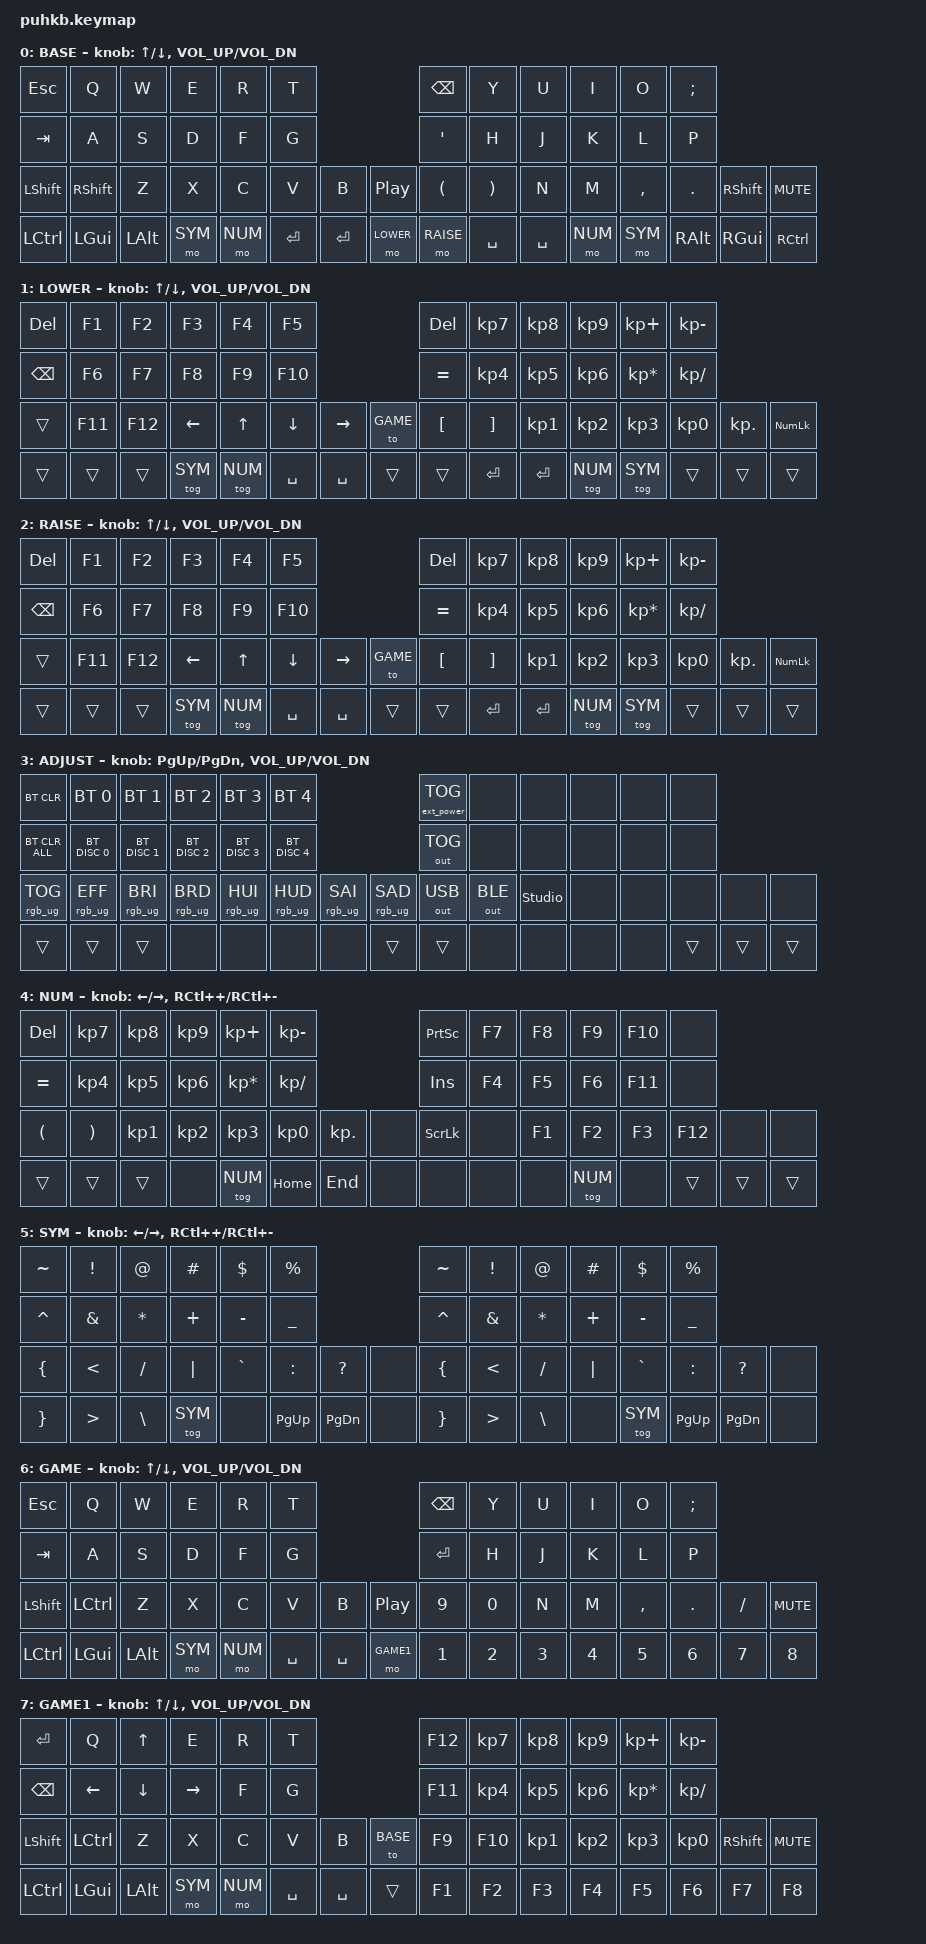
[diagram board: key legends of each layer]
/*
 * Copyright (c) 2020 The ZMK Contributors
 *
 * SPDX-License-Identifier: MIT
 */

#include <behaviors.dtsi>
#include <dt-bindings/zmk/keys.h>
#include <dt-bindings/zmk/bt.h>
#include <dt-bindings/zmk/outputs.h>
#include <dt-bindings/zmk/rgb.h>
#include <dt-bindings/zmk/ext_power.h>

&led_strip {
    chain-length = <27>;
};

#define BASE 0
#define LOWER 1
#define RAISE 2
#define ADJUST 3
#define NUM 4
#define SYM 5
#define GAME 6
#define GAME1 7

/ {

   // Activate ADJUST layer by pressing raise and lower
    conditional_layers {
        compatible = "zmk,conditional-layers";
        adjust_layer {
            if-layers = <LOWER RAISE>;
            then-layer = <ADJUST>;
        };
    };
    
    keymap {
        compatible = "zmk,keymap";
        default_layer {
        display-name = "BASE";
// * BASE
// * |-------------------------------------------|                 |-------------------------------------------|
// * | ESC  | |   Q  |   W  |   E  |   R  |   T  |                 | BSP  | |   Y  |   U  |   I  |   O  |  :;  |
// * |------+---+------+------+------+------+------|               |------+---+------+------+------+------+------|
// * | TAB  |   |   A  |   S  |   D  |   F  |   G  |               |  '"  |   |   H  |   J  |   K  |   L  |  P   |
// * |------+------+------+------+------+------+------+------|     |------|------+------+------+------+------+------+------|
// * |LShift|RShift|   Z  |   X  |   C  |   V  |   B  | PLAY |     |  (   |  )   |   N  |   M  |  ,<  |  .>  |RShift| MUTE |
// * |------+------+------+------+------+------+------+------|     |------+------+------+------+------+------+------+------|
// * |LCTRL | LGUI | LAlt | SYM  | NUM  | ENT  | ENT  | LOW  |     | RAI  |Space |Space |  NUM | SYM  | RAlt | RGUI |RCTRL |
// * |-------------------------------------------------------|     |-------------------------------------------------------|
// */
            bindings = <
&kp ESC             &kp Q     &kp W     &kp E     &kp R     &kp T                  &kp BSPC             &kp Y     &kp U     &kp I     &kp O           &kp SEMI
&kp TAB             &kp A     &kp S     &kp D     &kp F     &kp G                  &kp SQT              &kp H     &kp J     &kp K     &kp L           &kp P
&kp LSHFT &kp RSHFT &kp Z     &kp X     &kp C     &kp V     &kp B     &kp C_PP     &kp LPAR  &kp RPAR   &kp N     &kp M     &kp COMMA &kp DOT         &kp RSHFT     &kp C_MUTE
&kp LCTRL &kp LGUI  &kp LALT  &mo SYM   &mo NUM   &kp RET   &kp RET   &mo LOWER    &mo RAISE &kp SPACE  &kp SPACE &mo NUM   &mo SYM   &kp RALT        &kp RGUI      &kp RCTRL
            >;

            sensor-bindings = <&inc_dec_kp UP DOWN &inc_dec_kp C_VOL_UP C_VOL_DN>;
        };

            lower_layer {
            display-name = "LOWER";
// * LOWER
// * |-------------------------------------------|                 |-------------------------------------------|
// * | DEL  | |  F1  |  F2  |  F3  |  F4  |  F5  |                 | DEL  | |   7  |   8  |   9  |   +  |  -_  |
// * |------+---+------+------+------+------+------|               |------+---+------+------+------+------+------|
// * | BSP  |   |  F6  |  F7  |  F8  |  F9  |  F10 |               |  =   |   |   4  |   5  |   6  |   *  |  /   |
// * |------+------+------+------+------+------+------+------|     |------|------+------+------+------+------+------+------|
// * |LShift|  F11 |  F12 | LEFT |  UP  | DOWN | RIGHT| TO(6)|     |  [{  | ]}   |   1  |   2  |   3  |   0  |   .  |NUMLOK|
// * |------+------+------+------+------+------+------+------|     |------+------+------+------+------+------+------+------|
// * |LCTRL | LGUI | LAlt | TG(5)| TG(4)| SPC  | SPC  |      |     |      | ENT  | ENT  | TG(4)| TG(5)| RAlt | RGUI |RCTRL |
// * |-------------------------------------------------------|     |-------------------------------------------------------|
// */
            bindings = <
&kp DEL             &kp F1    &kp F2    &kp F3    &kp F4    &kp F5                 &kp DEL              &kp KP_N7 &kp KP_N8 &kp KP_N9 &kp KP_PLUS     &kp KP_MINUS
&kp BSPC            &kp F6    &kp F7    &kp F8    &kp F9    &kp F10                &kp EQUAL            &kp KP_N4 &kp KP_N5 &kp KP_N6 &kp KP_MULTIPLY &kp KP_DIVIDE
&trans    &kp F11   &kp F12   &kp LEFT  &kp UP    &kp DOWN  &kp RIGHT &to GAME     &kp LBKT  &kp RBKT   &kp KP_N1 &kp KP_N2 &kp KP_N3 &kp KP_N0       &kp KP_DOT    &kp KP_NLCK
&trans    &trans    &trans    &tog SYM  &tog NUM  &kp SPACE &kp SPACE &trans       &trans    &kp RET    &kp RET   &tog NUM  &tog SYM  &trans          &trans        &trans
            >;

            sensor-bindings = <&inc_dec_kp UP DOWN &inc_dec_kp C_VOL_UP C_VOL_DN>;
        };
        
            raise_layer {
            display-name = "RAISE";
// * RAISE
// * |-------------------------------------------|                 |-------------------------------------------|
// * | DEL  | |  F1  |  F2  |  F3  |  F4  |  F5  |                 | DEL  | |   7  |   8  |   9  |   +  |  -_  |
// * |------+---+------+------+------+------+------|               |------+---+------+------+------+------+------|
// * | BSP  |   |  F6  |  F7  |  F8  |  F9  |  F10 |               |  =   |   |   4  |   5  |   6  |   *  |  /   |
// * |------+------+------+------+------+------+------+------|     |------|------+------+------+------+------+------+------|
// * |LShift|  F11 |  F12 | LEFT |  UP  | DOWN | RIGHT| TO(6)|     |  [{  | ]}   |   1  |   2  |   3  |   0  |   .  |NUMLOK|
// * |------+------+------+------+------+------+------+------|     |------+------+------+------+------+------+------+------|
// * |LCTRL | LGUI | LAlt | TG(5)| TG(4)| SPC  | SPC  |      |     |      | ENT  | ENT  | TG(4)| TG(5)| RAlt | RGUI |RCTRL |
// * |-------------------------------------------------------|     |-------------------------------------------------------|
// */
            bindings = <
&kp DEL             &kp F1    &kp F2    &kp F3    &kp F4    &kp F5                 &kp DEL              &kp KP_N7 &kp KP_N8 &kp KP_N9 &kp KP_PLUS     &kp KP_MINUS
&kp BSPC            &kp F6    &kp F7    &kp F8    &kp F9    &kp F10                &kp EQUAL            &kp KP_N4 &kp KP_N5 &kp KP_N6 &kp KP_MULTIPLY &kp KP_DIVIDE
&trans    &kp F11   &kp F12   &kp LEFT  &kp UP    &kp DOWN  &kp RIGHT &to GAME     &kp LBKT  &kp RBKT   &kp KP_N1 &kp KP_N2 &kp KP_N3 &kp KP_N0       &kp KP_DOT    &kp KP_NLCK
&trans    &trans    &trans    &tog SYM  &tog NUM  &kp SPACE &kp SPACE &trans       &trans    &kp RET    &kp RET   &tog NUM  &tog SYM  &trans          &trans        &trans
            >;

            sensor-bindings = <&inc_dec_kp UP DOWN &inc_dec_kp C_VOL_UP C_VOL_DN>;
        };
        
            adjust_layer {
            display-name = "ADJUST";
// * ADJUST
// * |-------------------------------------------|                 |-------------------------------------------|
// * |BT_CLR| |BTSEL0|BTSEL1|BTSEL2|BTSEL3|BTSEL4|                 |POWTOG| |      |      |      |      |      |
// * |------+---+------+------+------+------+------|               |------+---+------+------+------+------+------|
// * |BTCLRA|   |BTDIS0|BTDIS1|BTDIS2|BTDIS3|BTDIS4|               |OUTTOG|   |      |      |      |      |      |
// * |------+------+------+------+------+------+------+------|     |------|------+------+------+------+------+------+------|
// * |RGBTOG|RGBEFF|RGBBRI|RGBBRD|RGBHUI|RGBHUD|RGBSAI|RGBSAD|     |OUTUSB|OUTBLE|STUNLK|      |      |      |      |      |
// * |------+------+------+------+------+------+------+------|     |------+------+------+------+------+------+------+------|
// * |      |      |      |      |      |      |      |      |     |      |      |      |      |      |      |      |      |
// * |-------------------------------------------------------|     |-------------------------------------------------------|
// */
            bindings = <
&bt BT_CLR      &bt BT_SEL 0    &bt BT_SEL 1    &bt BT_SEL 2    &bt BT_SEL 3    &bt BT_SEL 4                                       &ext_power EP_TOG        &none          &none  &none  &none  &none
&bt BT_CLR_ALL  &bt BT_DISC 0   &bt BT_DISC 1   &bt BT_DISC 2   &bt BT_DISC 3   &bt BT_DISC 4                                      &out OUT_TOG             &none          &none  &none  &none  &none
&rgb_ug RGB_TOG &rgb_ug RGB_EFF &rgb_ug RGB_BRI &rgb_ug RGB_BRD &rgb_ug RGB_HUI &rgb_ug RGB_HUD &rgb_ug RGB_SAI &rgb_ug RGB_SAD    &out OUT_USB             &out OUT_BLE   &studio_unlock  &none  &none  &none  &none  &none
&trans          &trans          &trans          &none           &none           &none           &none           &trans             &trans                   &none          &none  &none  &none  &trans &trans &trans
            >;

            sensor-bindings = <&inc_dec_kp PG_UP PG_DN &inc_dec_kp C_VOL_UP C_VOL_DN>;
        };
            num_layer {
            display-name = "NUM";
// * NUM
// * |-------------------------------------------|                 |-------------------------------------------|
// * | DEL  | |   7  |   8  |   9  |   +  |   -  |                 |PriScr| |  F7  |  F8  |  F9  | F10  |      |
// * |------+---+------+------+------+------+------|               |------+---+------+------+------+------+------|
// * |  =   |   |   4  |   5  |   6  |   *  |  /   |               |Insert|   |  F4  |  F5  |  F6  | F11  |      |
// * |------+------+------+------+------+------+------+------|     |------|------+------+------+------+------+------+------|
// * |  (   |  )   |   1  |   2  |   3  |   0  |   .  |      |     |ScLock|      |  F1  |  F2  | F3   | F12  |      |      |
// * |------+------+------+------+------+------+------+------|     |------+------+------+------+------+------+------+------|
// * |      |      |      |      |TO(4) | HOME |  END |      |     |      |      |      |TO(4) |      |      |      |      |
// * |-------------------------------------------------------|     |-------------------------------------------------------|
// */
            bindings = <
&kp DEL             &kp KP_N7 &kp KP_N8 &kp KP_N9 &kp KP_PLUS     &kp KP_MINUS               &kp PSCRN            &kp F7    &kp F8    &kp F9    &kp F10     &none
&kp EQUAL           &kp KP_N4 &kp KP_N5 &kp KP_N6 &kp KP_MULTIPLY &kp KP_DIVIDE              &kp INS              &kp F4    &kp F5    &kp F6    &kp F11     &none
&kp LPAR  &kp RPAR  &kp KP_N1 &kp KP_N2 &kp KP_N3 &kp KP_N0       &kp KP_DOT    &none        &kp SLCK  &none      &kp F1    &kp F2    &kp F3    &kp F12     &none     &none
&trans    &trans    &trans    &none     &tog NUM  &kp HOME        &kp END       &none        &none     &none      &none     &tog NUM  &none     &trans      &trans    &trans
            >;

            sensor-bindings = <&inc_dec_kp LEFT RIGHT &inc_dec_kp RC(PLUS) RC(MINUS)>;
        };
            sym_layer {
            display-name = "SYM";
// * SYM
// * |-------------------------------------------|                 |-------------------------------------------|
// * |  ~   | |   !  |   @  |   #  |   $  |   %  |                 |  ~   | |   !  |   @  |   #  |   $  |   %  |
// * |------+---+------+------+------+------+------|               |------+---+------+------+------+------+------|
// * |  ^   |   |   &  |   *  |   +  |   -  |   _  |               |  ^   |   |   &  |   *  |   +  |   -  |   _  |
// * |------+------+------+------+------+------+------+------|     |------|------+------+------+------+------+------+------|
// * |  {   |  <   |  /   |  |   |  `   |   :  |  ?   |      |     |  {   |  <   |  /   |  |   |  `   |   :  |  ?   |      |
// * |------+------+------+------+------+------+------+------|     |------+------+------+------+------+------+------+------|
// * |  }   |  >   |  \   |TO(5) |      | PgUP | PgDO |      |     |  }   |  >   |  \   |      |TO(5) | PgUP | PgDO |      |
// * |-------------------------------------------------------|     |-------------------------------------------------------|
// */
            bindings = <
&kp TILDE           &kp EXCL  &kp AT    &kp HASH  &kp DLLR  &kp PRCNT              &kp TILDE           &kp EXCL  &kp AT    &kp HASH  &kp DLLR  &kp PRCNT
&kp CARET           &kp AMPS  &kp STAR  &kp PLUS  &kp MINUS &kp UNDER              &kp CARET           &kp AMPS  &kp STAR  &kp PLUS  &kp MINUS &kp UNDER
&kp LBRC  &kp LT    &kp FSLH  &kp PIPE  &kp GRAVE &kp COLON &kp QMARK &none        &kp LBRC  &kp LT    &kp FSLH  &kp PIPE  &kp GRAVE &kp COLON &kp QMARK &none
&kp RBRC  &kp GT    &kp BSLH  &tog SYM  &none     &kp PG_UP &kp PG_DN &none        &kp RBRC  &kp GT    &kp BSLH  &none     &tog SYM  &kp PG_UP &kp PG_DN &none
            >;

            sensor-bindings = <&inc_dec_kp LEFT RIGHT &inc_dec_kp RC(PLUS) RC(MINUS)>;
        };
        game_layer {
        display-name = "GAME";
// * GAME
// * |-------------------------------------------|                 |-------------------------------------------|
// * | ESC  | |   Q  |   W  |   E  |   R  |   T  |                 | BSP  | |   Y  |   U  |   I  |   O  |  :;  |
// * |------+---+------+------+------+------+------|               |------+---+------+------+------+------+------|
// * | TAB  |   |   A  |   S  |   D  |   F  |   G  |               | ENT  |   |   H  |   J  |   K  |   L  |  P   |
// * |------+------+------+------+------+------+------+------|     |------|------+------+------+------+------+------+------|
// * |LShift|LCTRL |   Z  |   X  |   C  |   V  |   B  | PLAY |     |  N9  |  N0  |   N  |   M  |  ,<  |  .>  |  /?  | MUTE |
// * |------+------+------+------+------+------+------+------|     |------+------+------+------+------+------+------+------|
// * |LCTRL | LGUI | LAlt | SYM  | NUM  |Space |Space |GAME1 |     |  N1  |  N2  |  N3  |  N4  |  N5  |  N6  |  N7  |  N8  |
// * |-------------------------------------------------------|     |-------------------------------------------------------|
// */
            bindings = <
&kp ESC             &kp Q     &kp W     &kp E     &kp R     &kp T                  &kp BSPC             &kp Y     &kp U     &kp I     &kp O           &kp SEMI
&kp TAB             &kp A     &kp S     &kp D     &kp F     &kp G                  &kp RET              &kp H     &kp J     &kp K     &kp L           &kp P
&kp LSHFT &kp LCTRL &kp Z     &kp X     &kp C     &kp V     &kp B     &kp C_PP     &kp N9    &kp N0     &kp N     &kp M     &kp COMMA &kp DOT         &kp FSLH      &kp C_MUTE
&kp LCTRL &kp LGUI  &kp LALT  &mo SYM   &mo NUM   &kp SPACE &kp SPACE &mo GAME1    &kp N1    &kp N2     &kp N3    &kp N4    &kp N5    &kp N6          &kp N7        &kp N8
            >;

            sensor-bindings = <&inc_dec_kp UP DOWN &inc_dec_kp C_VOL_UP C_VOL_DN>;
        };
        game1_layer {
        display-name = "GAME1";
// * GAME1
// * |-------------------------------------------|                 |-------------------------------------------|
// * | ENT  | |      |  UP  |      |      |      |                 |  F12 | | NUM7 | NUM8 | NUM9 |   +  |   -  |
// * |------+---+------+------+------+------+------|               |------+---+------+------+------+------+------|
// * | BSP  |   |  LE  |  DO  |  RI  |      |      |               |  F11 |   | NUM4 | NUM5 | NUM6 |   *  |  :   |
// * |------+------+------+------+------+------+------+------|     |------|------+------+------+------+------+------+------|
// * |LShift|LCTRL |   Z  |   X  |   C  |   V  |   B  | TO(0)|     |  F9  | F10  | NUM1 | NUM2 | NUM3 | NUM0 |RShift| MUTE |
// * |------+------+------+------+------+------+------+------|     |------+------+------+------+------+------+------+------|
// * |LCTRL | LGUI | LAlt | SYM  | NUM  |Space |Space |      |     |  F1  |  F2  |  F3  |  F4  |  F5  |  F6  |  F7  |  F8  |
// * |-------------------------------------------------------|     |-------------------------------------------------------|
// */
            bindings = <
&kp RET             &kp Q     &kp UP    &kp E     &kp R     &kp T                  &kp F12              &kp KP_N7 &kp KP_N8 &kp KP_N9 &kp KP_PLUS     &kp KP_MINUS
&kp BSPC            &kp LEFT  &kp DOWN  &kp RIGHT &kp F     &kp G                  &kp F11              &kp KP_N4 &kp KP_N5 &kp KP_N6 &kp KP_MULTIPLY &kp KP_DIVIDE
&kp LSHFT &kp LCTRL &kp Z     &kp X     &kp C     &kp V     &kp B     &to BASE     &kp F9    &kp F10    &kp KP_N1 &kp KP_N2 &kp KP_N3 &kp KP_N0       &kp RSHFT     &kp C_MUTE
&kp LCTRL &kp LGUI  &kp LALT  &mo SYM   &mo NUM   &kp SPACE &kp SPACE &trans       &kp F1    &kp F2     &kp F3    &kp F4    &kp F5    &kp F6          &kp F7        &kp F8
            >;

            sensor-bindings = <&inc_dec_kp UP DOWN &inc_dec_kp C_VOL_UP C_VOL_DN>;
        };
    };
};
